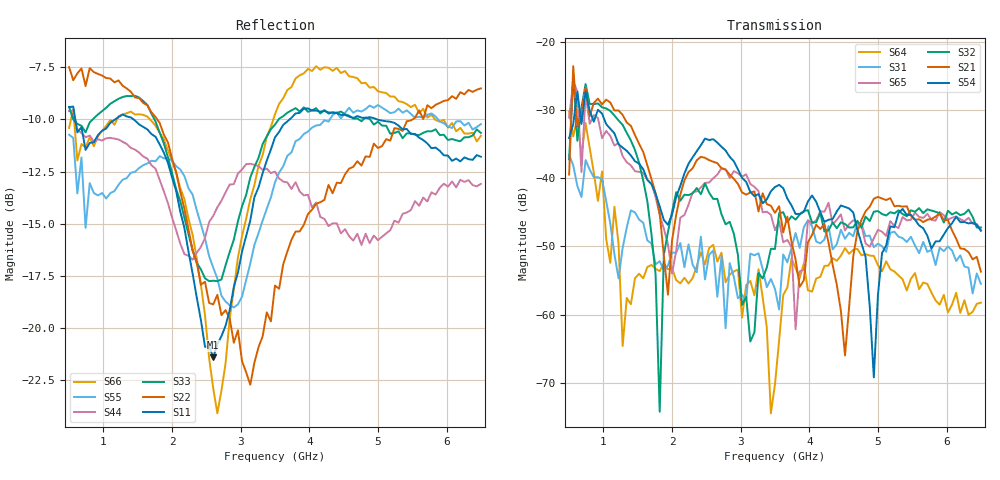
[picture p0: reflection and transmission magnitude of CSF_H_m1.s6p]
!Keysight Technologies,M9804A,MY58100912,A.14.10.03
!Date: Thursday, April 27, 2023 10:28:33
!Correction: S11(C  6-Port  )
!S12(C  6-Port  )
!S13(C  6-Port  )
!S14(C  6-Port  )
!S15(C  6-Port  )
!S16(C  6-Port  )
!S21(C  6-Port  )
!S22(C  6-Port  )
!S23(C  6-Port  )
!S24(C  6-Port  )
!S25(C  6-Port  )
!S26(C  6-Port  )
!S31(C  6-Port  )
!S32(C  6-Port  )
!S33(C  6-Port  )
!S34(C  6-Port  )
!S35(C  6-Port  )
!S36(C  6-Port  )
!S41(C  6-Port  )
!S42(C  6-Port  )
!S43(C  6-Port  )
!S44(C  6-Port  )
!S45(C  6-Port  )
!S46(C  6-Port  )
!S51(C  6-Port  )
!S52(C  6-Port  )
!S53(C  6-Port  )
!S54(C  6-Port  )
!S55(C  6-Port  )
!S56(C  6-Port  )
!S61(C  6-Port  )
!S62(C  6-Port  )
!S63(C  6-Port  )
!S64(C  6-Port  )
!S65(C  6-Port  )
!S66(C  6-Port  )
!S6P File: Measurement: :
# Hz S  RI  R 50
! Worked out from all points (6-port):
!   101 points, 500 MHz to 6.5 GHz, reference 50 ohm
!   strongest paths, dB at 500 MHz, 2 GHz, 3.5 GHz, 5 GHz, 6.5 GHz:
!     S54: -34.1, -45.3, -41.3, -57.1, -47.7
!     S21: -39.5, -49.1, -45.1, -42.7, -53.7
!     S32: -37.2, -44.9, -50.4, -44.8, -47.2
!     S65: -31.1, -54.0, -47.6, -47.6, -47.6
!     S31: -36.6, -50.9, -56.2, -49.6, -55.5
!     S64: -30.2, -53.2, -70.2, -52.7, -58.2
!   lowest |S11| = -21.4 dB at 2.6 GHz (marker M1), VSWR 1.19, Z = 42.4 + j2.2 ohm
!   |S11| at or under -10 dB: 589.7 MHz to 1.172 GHz (582.2 MHz wide, 66.1 % of centre); 1.437 GHz to 3.714 GHz (2.277 GHz wide, 88.4 % of centre); 4.983 GHz to end of sweep
